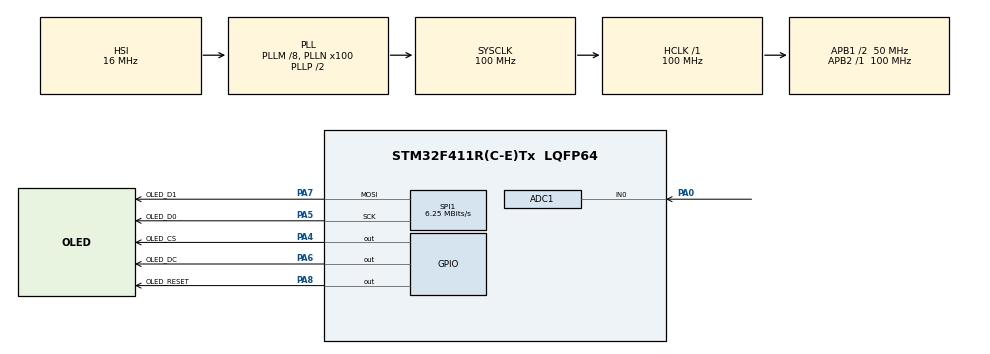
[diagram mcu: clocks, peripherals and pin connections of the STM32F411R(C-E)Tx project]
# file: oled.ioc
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ADC1.Channel-0\#ChannelRegularConversion=ADC_CHANNEL_0
ADC1.ClockPrescaler=ADC_CLOCK_SYNC_PCLK_DIV8
ADC1.DMAContinuousRequests=ENABLE
ADC1.ExternalTrigConv=ADC_EXTERNALTRIGCONV_T2_TRGO
ADC1.NbrOfConversionFlag=1
ADC1.Rank-0\#ChannelRegularConversion=1
ADC1.SamplingTime-0\#ChannelRegularConversion=ADC_SAMPLETIME_3CYCLES
ADC1.master=1
Dma.ADC1.0.Direction=DMA_PERIPH_TO_MEMORY
Dma.ADC1.0.FIFOMode=DMA_FIFOMODE_DISABLE
Dma.ADC1.0.Instance=DMA2_Stream0
Dma.ADC1.0.MemDataAlignment=DMA_MDATAALIGN_HALFWORD
Dma.ADC1.0.MemInc=DMA_MINC_ENABLE
Dma.ADC1.0.Mode=DMA_CIRCULAR
Dma.ADC1.0.PeriphDataAlignment=DMA_PDATAALIGN_HALFWORD
Dma.ADC1.0.PeriphInc=DMA_PINC_DISABLE
Dma.ADC1.0.Priority=DMA_PRIORITY_LOW
Dma.Request0=ADC1
Mcu.Family=STM32F4
Mcu.Name=STM32F411R(C-E)Tx
Mcu.Package=LQFP64
NVIC.DMA2_Stream0_IRQn=true\:0\:0\:false\:false\:true\:false\:true\:true
NVIC.PriorityGroup=NVIC_PRIORITYGROUP_4
NVIC.TIM2_IRQn=true\:0\:0\:false\:false\:true\:true\:true\:true
PA0-WKUP.Signal=ADCx_IN0
PA4.GPIO_Label=OLED_CS
PA4.Signal=GPIO_Output
PA5.GPIO_Label=OLED_D0
PA5.Mode=TX_Only_Simplex_Unidirect_Master
PA5.Signal=SPI1_SCK
PA6.GPIO_Label=OLED_DC
PA6.Signal=GPIO_Output
PA7.GPIO_Label=OLED_D1
PA7.Mode=TX_Only_Simplex_Unidirect_Master
PA7.Signal=SPI1_MOSI
PA8.GPIO_Label=OLED_RESET
PA8.Signal=GPIO_Output
ProjectManager.HeapSize=0x200
ProjectManager.StackSize=0x400
ProjectManager.TargetToolchain=STM32CubeIDE
RCC.48MHZClocksFreq_Value=50000000
RCC.AHBFreq_Value=100000000
RCC.APB1CLKDivider=RCC_HCLK_DIV2
RCC.APB1Freq_Value=50000000
RCC.APB1TimFreq_Value=100000000
RCC.APB2Freq_Value=100000000
RCC.APB2TimFreq_Value=100000000
RCC.CortexFreq_Value=100000000
RCC.HCLKFreq_Value=100000000
RCC.HSE_VALUE=25000000
RCC.HSI_VALUE=16000000
RCC.LSE_VALUE=32768
RCC.PLLM=8
RCC.PLLN=100
RCC.SYSCLKFreq_VALUE=100000000
RCC.SYSCLKSource=RCC_SYSCLKSOURCE_PLLCLK
RCC.VCOOutputFreq_Value=200000000
SH.ADCx_IN0.0=ADC1_IN0,IN0
SPI1.BaudRatePrescaler=SPI_BAUDRATEPRESCALER_16
SPI1.CLKPhase=SPI_PHASE_2EDGE
SPI1.CLKPolarity=SPI_POLARITY_HIGH
SPI1.CalculateBaudRate=6.25 MBits/s
SPI1.Direction=SPI_DIRECTION_2LINES
SPI1.Mode=SPI_MODE_MASTER
SPI1.VirtualType=VM_MASTER
TIM2.Period=25-1
TIM2.Prescaler=100-1
TIM2.TIM_MasterOutputTrigger=TIM_TRGO_UPDATE
VP_TIM2_VS_ClockSourceINT.Mode=Internal
board=custom

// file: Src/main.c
/* USER CODE BEGIN Header */
/**
  ******************************************************************************
  * @file           : main.c
  * @brief          : Main program body
  ******************************************************************************
  * @attention
  *
  * Copyright (c) 2024 STMicroelectronics.
  * All rights reserved.
  *
  * This software is licensed under terms that can be found in the LICENSE file
  * in the root directory of this software component.
  * If no LICENSE file comes with this software, it is provided AS-IS.
  *
  ******************************************************************************
  */
/* USER CODE END Header */
#include "main.h"

/* USER CODE BEGIN Includes */
#include "u8g2/u8g2.h"
#include "arm_math.h"
/* USER CODE END Includes */

/* USER CODE BEGIN PD */
#define FFT_Length 1024
/* USER CODE END PD */

ADC_HandleTypeDef hadc1;
DMA_HandleTypeDef hdma_adc1;

SPI_HandleTypeDef hspi1;

TIM_HandleTypeDef htim2;

/* USER CODE BEGIN PV */
float32_t FFT_Input_Q15_f[50];
float32_t aFFT_Input_Q15[50];
// USER CODE END PV
// USER CODE BEGIN PD
// USER CODE END PD
// USER CODE BEGIN 1
/* USER CODE END 1 */

void SystemClock_Config(void);
static void MX_GPIO_Init(void);
static void MX_DMA_Init(void);
static void MX_SPI1_Init(void);
static void MX_ADC1_Init(void);
static void MX_TIM2_Init(void);
/* USER CODE BEGIN PFP */
extern uint8_t u8x8_stm32_gpio_and_delay(u8x8_t *u8x8, uint8_t msg, uint8_t arg_int, void *arg_ptr);
extern uint8_t u8x8_byte_stm32_hw_spi(u8x8_t *u8x8, uint8_t msg, uint8_t arg_int, void *arg_ptr);
/* USER CODE END PFP */

/* USER CODE BEGIN 0 */
static u8g2_t u8g2;
uint32_t doConvert = 128;
//fft 추가
#define SamplesFft 2048
#define samplingRate 40000
uint16_t adValue [SamplesFft];
float32_t input[SamplesFft];
float32_t output[SamplesFft];

void HAL_TIM_PeriodElapsedCallback(TIM_HandleTypeDef *htim) {
	if (doConvert > 0) doConvert--;
}

/* USER CODE END 0 */

int main(void)
{

  /* MCU Configuration--------------------------------------------------------*/

  /* Reset of all peripherals, Initializes the Flash interface and the Systick. */
  HAL_Init();

  /* Configure the system clock */
  SystemClock_Config();

  /* Initialize all configured peripherals */
  MX_GPIO_Init();
  MX_DMA_Init();
  MX_SPI1_Init();
  MX_ADC1_Init();
  MX_TIM2_Init();
  /* USER CODE BEGIN 2 */
  uint16_t adcValue[128];
  HAL_ADC_Start_DMA(&hadc1, (uint32_t *)adcValue, 128);
  HAL_TIM_Base_Start_IT(&htim2);
  // setup ssd1306
  u8g2_Setup_ssd1306_128x64_noname_f(&u8g2, U8G2_R0, u8x8_byte_stm32_hw_spi, u8x8_stm32_gpio_and_delay);

  //init ssd1306
    u8g2_InitDisplay(&u8g2);
    u8g2_SetPowerSave(&u8g2, 0);
//
    u8g2_ClearBuffer(&u8g2);
//    u8g2_SetDrawColor(&u8g2, 1);
//     english font
//    u8g2_SetFont(&u8g2, u8g2_font_5x7_mf);
//    u8g2_DrawStr(&u8g2, 2, 30, "Hi Seongwoo");
    // korean font
//    u8g2_SetFont(&u8g2, u8g2_font_unifont_t_korean1);
//    u8g2_DrawUTF8(&u8g2, 2, 30, "?��?�� ?�� ?��?��?��");
//    u8g2_SendBuffer(&u8g2);
  /* USER CODE END 2 */

  /* Infinite loop */
  /* USER CODE BEGIN WHILE */
  u8g2_SetDrawColor(&u8g2, 1);

  //fft
  arm_rfft_fast_instance_f32 fftInstatnce;
  arm_rfft_fast_init_f32(&fftInstance, SamplesFft);
  while (1)
  {
	  if(doConvert == 0) {
		  doConvert = 128;
		  u8g2_ClearBuffer(&u8g2);
		  for(int x=0; x<128; x++) {
			  u8g2_DrawPixel(&u8g2, x, adcValue[x]/16);
		  }
		  u8g2_SendBuffer(&u8g2);
	  }
    /* USER CODE END WHILE */

  }
}

void SystemClock_Config(void)
{
  RCC_OscInitTypeDef RCC_OscInitStruct = {0};
  RCC_ClkInitTypeDef RCC_ClkInitStruct = {0};

  /** Configure the main internal regulator output voltage
  */
  __HAL_RCC_PWR_CLK_ENABLE();
  __HAL_PWR_VOLTAGESCALING_CONFIG(PWR_REGULATOR_VOLTAGE_SCALE1);

  /** Initializes the RCC Oscillators according to the specified parameters
  * in the RCC_OscInitTypeDef structure.
  */
  RCC_OscInitStruct.OscillatorType = RCC_OSCILLATORTYPE_HSI;
  RCC_OscInitStruct.HSIState = RCC_HSI_ON;
  RCC_OscInitStruct.HSICalibrationValue = RCC_HSICALIBRATION_DEFAULT;
  RCC_OscInitStruct.PLL.PLLState = RCC_PLL_ON;
  RCC_OscInitStruct.PLL.PLLSource = RCC_PLLSOURCE_HSI;
  RCC_OscInitStruct.PLL.PLLM = 8;
  RCC_OscInitStruct.PLL.PLLN = 100;
  RCC_OscInitStruct.PLL.PLLP = RCC_PLLP_DIV2;
  RCC_OscInitStruct.PLL.PLLQ = 4;
  if (HAL_RCC_OscConfig(&RCC_OscInitStruct) != HAL_OK)
  {
    Error_Handler();
  }

  /** Initializes the CPU, AHB and APB buses clocks
  */
  RCC_ClkInitStruct.ClockType = RCC_CLOCKTYPE_HCLK|RCC_CLOCKTYPE_SYSCLK
                              |RCC_CLOCKTYPE_PCLK1|RCC_CLOCKTYPE_PCLK2;
  RCC_ClkInitStruct.SYSCLKSource = RCC_SYSCLKSOURCE_PLLCLK;
  RCC_ClkInitStruct.AHBCLKDivider = RCC_SYSCLK_DIV1;
  RCC_ClkInitStruct.APB1CLKDivider = RCC_HCLK_DIV2;
  RCC_ClkInitStruct.APB2CLKDivider = RCC_HCLK_DIV1;

  if (HAL_RCC_ClockConfig(&RCC_ClkInitStruct, FLASH_LATENCY_3) != HAL_OK)
  {
    Error_Handler();
  }
}

static void MX_ADC1_Init(void)
{

  ADC_ChannelConfTypeDef sConfig = {0};

  /** Configure the global features of the ADC (Clock, Resolution, Data Alignment and number of conversion)
  */
  hadc1.Instance = ADC1;
  hadc1.Init.ClockPrescaler = ADC_CLOCK_SYNC_PCLK_DIV8;
  hadc1.Init.Resolution = ADC_RESOLUTION_12B;
  hadc1.Init.ScanConvMode = DISABLE;
  hadc1.Init.ContinuousConvMode = DISABLE;
  hadc1.Init.DiscontinuousConvMode = DISABLE;
  hadc1.Init.ExternalTrigConvEdge = ADC_EXTERNALTRIGCONVEDGE_RISING;
  hadc1.Init.ExternalTrigConv = ADC_EXTERNALTRIGCONV_T2_TRGO;
  hadc1.Init.DataAlign = ADC_DATAALIGN_RIGHT;
  hadc1.Init.NbrOfConversion = 1;
  hadc1.Init.DMAContinuousRequests = ENABLE;
  hadc1.Init.EOCSelection = ADC_EOC_SINGLE_CONV;
  if (HAL_ADC_Init(&hadc1) != HAL_OK)
  {
    Error_Handler();
  }

  /** Configure for the selected ADC regular channel its corresponding rank in the sequencer and its sample time.
  */
  sConfig.Channel = ADC_CHANNEL_0;
  sConfig.Rank = 1;
  sConfig.SamplingTime = ADC_SAMPLETIME_3CYCLES;
  if (HAL_ADC_ConfigChannel(&hadc1, &sConfig) != HAL_OK)
  {
    Error_Handler();
  }

}

static void MX_SPI1_Init(void)
{

  /* SPI1 parameter configuration*/
  hspi1.Instance = SPI1;
  hspi1.Init.Mode = SPI_MODE_MASTER;
  hspi1.Init.Direction = SPI_DIRECTION_2LINES;
  hspi1.Init.DataSize = SPI_DATASIZE_8BIT;
  hspi1.Init.CLKPolarity = SPI_POLARITY_HIGH;
  hspi1.Init.CLKPhase = SPI_PHASE_2EDGE;
  hspi1.Init.NSS = SPI_NSS_SOFT;
  hspi1.Init.BaudRatePrescaler = SPI_BAUDRATEPRESCALER_16;
  hspi1.Init.FirstBit = SPI_FIRSTBIT_MSB;
  hspi1.Init.TIMode = SPI_TIMODE_DISABLE;
  hspi1.Init.CRCCalculation = SPI_CRCCALCULATION_DISABLE;
  hspi1.Init.CRCPolynomial = 10;
  if (HAL_SPI_Init(&hspi1) != HAL_OK)
  {
    Error_Handler();
  }

}

static void MX_TIM2_Init(void)
{

  TIM_ClockConfigTypeDef sClockSourceConfig = {0};
  TIM_MasterConfigTypeDef sMasterConfig = {0};

  htim2.Instance = TIM2;
  htim2.Init.Prescaler = 100-1;
  htim2.Init.CounterMode = TIM_COUNTERMODE_UP;
  htim2.Init.Period = 25-1;
  htim2.Init.ClockDivision = TIM_CLOCKDIVISION_DIV1;
  htim2.Init.AutoReloadPreload = TIM_AUTORELOAD_PRELOAD_DISABLE;
  if (HAL_TIM_Base_Init(&htim2) != HAL_OK)
  {
    Error_Handler();
  }
  sClockSourceConfig.ClockSource = TIM_CLOCKSOURCE_INTERNAL;
  if (HAL_TIM_ConfigClockSource(&htim2, &sClockSourceConfig) != HAL_OK)
  {
    Error_Handler();
  }
  sMasterConfig.MasterOutputTrigger = TIM_TRGO_UPDATE;
  sMasterConfig.MasterSlaveMode = TIM_MASTERSLAVEMODE_DISABLE;
  if (HAL_TIMEx_MasterConfigSynchronization(&htim2, &sMasterConfig) != HAL_OK)
  {
    Error_Handler();
  }

}

static void MX_DMA_Init(void)
{

  /* DMA controller clock enable */
  __HAL_RCC_DMA2_CLK_ENABLE();

  /* DMA interrupt init */
  /* DMA2_Stream0_IRQn interrupt configuration */
  HAL_NVIC_SetPriority(DMA2_Stream0_IRQn, 0, 0);
  HAL_NVIC_EnableIRQ(DMA2_Stream0_IRQn);

}

static void MX_GPIO_Init(void)
{
  GPIO_InitTypeDef GPIO_InitStruct = {0};

  /* GPIO Ports Clock Enable */
  __HAL_RCC_GPIOA_CLK_ENABLE();

  /*Configure GPIO pin Output Level */
  HAL_GPIO_WritePin(GPIOA, OLED_CS_Pin|OLED_DC_Pin|OLED_RESET_Pin, GPIO_PIN_RESET);

  /*Configure GPIO pins : OLED_CS_Pin OLED_DC_Pin OLED_RESET_Pin */
  GPIO_InitStruct.Pin = OLED_CS_Pin|OLED_DC_Pin|OLED_RESET_Pin;
  GPIO_InitStruct.Mode = GPIO_MODE_OUTPUT_PP;
  GPIO_InitStruct.Pull = GPIO_NOPULL;
  GPIO_InitStruct.Speed = GPIO_SPEED_FREQ_LOW;
  HAL_GPIO_Init(GPIOA, &GPIO_InitStruct);

}

void Error_Handler(void)
{
  __disable_irq();
  while (1)
  {
  }
}
